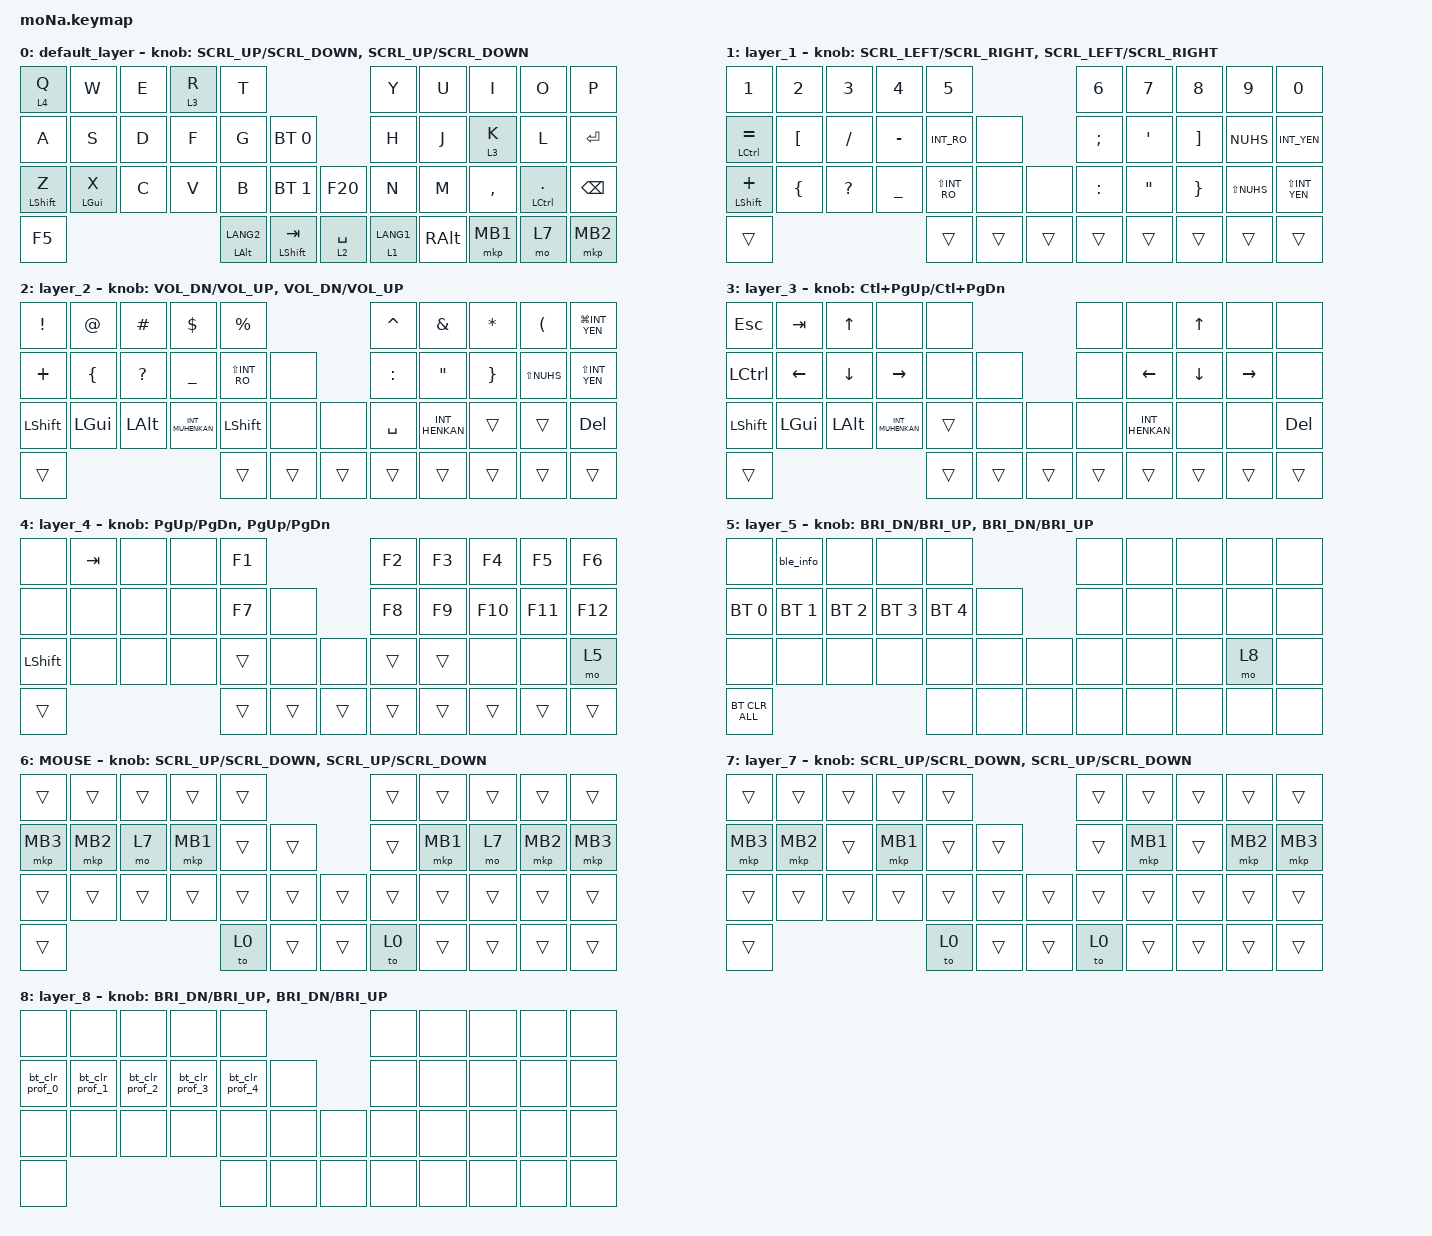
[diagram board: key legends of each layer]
#include <behaviors/rgbled_widget.dtsi>  // led制御
#include <behaviors/ble_info.dtsi>
#include <behaviors.dtsi>
#include <dt-bindings/zmk/bt.h>
#include <dt-bindings/zmk/keys.h>
#include <dt-bindings/zmk/pointing.h>

#define ZMK_POINTING_DEFAULT_SCRL_VAL 70   //スクロール量
#define MOUSE 6

&mt {
    flavor = "balanced";
    quick-tap-ms = <0>;
};

/ {
    //コンボ設定

    combos {
        compatible = "zmk,combos";

        tab {
            bindings = <&kp TAB>;   //押したとき実行されるコマンド
            key-positions = <11 12>;    //押すキーの位置
        };

        shift_tab {
            bindings = <&kp LS(TAB)>;
            key-positions = <12 13>;
        };

        muhennkann {
            bindings = <&to_layer_0 INT_MUHENKAN>;
            key-positions = <11 10>;
        };

        double_quotation {
            bindings = <&kp DOUBLE_QUOTES>;
            key-positions = <20 21>;
        };

        eq {
            bindings = <&kp EQUAL>;
            key-positions = <24 25>;
        };
    };

    //マクロ(既存のキーの組み合わせ)

    macros {
        to_layer_0: to_layer_0 {
            compatible = "zmk,behavior-macro-one-param";
            #binding-cells = <1>;
            bindings = <&to 0 &macro_param_1to1 &kp MACRO_PLACEHOLDER>;
            label = "TO_LAYER_0";
        };

        bt_clr_prof_0: bt_clr_prof_0 {
            compatible = "zmk,behavior-macro";
            #binding-cells = <0>;
            bindings = <&bt BT_SEL 0>, <&bt BT_CLR>;
        };

        bt_clr_prof_1: bt_clr_prof_1 {
            compatible = "zmk,behavior-macro";
            #binding-cells = <0>;
            bindings = <&bt BT_SEL 1>, <&bt BT_CLR>;
        };

        bt_clr_prof_2: bt_clr_prof_2 {
            compatible = "zmk,behavior-macro";
            #binding-cells = <0>;
            bindings = <&bt BT_SEL 2>, <&bt BT_CLR>;
        };

        bt_clr_prof_3: bt_clr_prof_3 {
            compatible = "zmk,behavior-macro";
            #binding-cells = <0>;
            bindings = <&bt BT_SEL 3>, <&bt BT_CLR>;
        };

        bt_clr_prof_4: bt_clr_prof_4 {
            compatible = "zmk,behavior-macro";
            #binding-cells = <0>;
            bindings = <&bt BT_SEL 4>, <&bt BT_CLR>;
        };
    };

    //新たな動作を定義する

    behaviors {
        lt_to_layer_0: lt_to_layer_0 {
            compatible = "zmk,behavior-hold-tap";
            label = "LAYER_TAP_TO_0";
            bindings = <&mo>, <&to_layer_0>;

            #binding-cells = <2>;
            tapping-term-ms = <200>;
        };

        mouse_scroll: mouse_wheel_scrl {
            compatible = "zmk,behavior-sensor-rotate-var";
            #sensor-binding-cells = <2>;
            bindings = <&msc>, <&msc>;

            // 追加: スクロールのタップ時間を設定 (20ms)

            tap-ms = <20>;
        };
    };

    //キーマップ設定

    keymap {
        compatible = "zmk,keymap";

        default_layer {
            bindings = <
&lt 4 Q           &kp W           &kp E  &lt 3 R  &kp T                                                  &kp Y        &kp U  &kp I      &kp O          &kp P
&kp A             &kp S           &kp D  &kp F    &kp G               &bt BT_SEL 0                             &kp H        &kp J  &lt 3 K    &kp L          &kp ENTER
&mt LEFT_SHIFT Z  &mt LEFT_GUI X  &kp C  &kp V    &kp B               &bt BT_SEL 1               &kp F20      &kp N        &kp M  &kp COMMA  &mt LCTRL DOT  &kp BACKSPACE
&kp F5                                            &mt LEFT_ALT LANG2  &mt LEFT_SHIFT TAB    &lt 2 SPACE  &lt 1 LANG1  &kp RIGHT_ALT  &mkp MB1   &mo 7          &mkp MB2
            >;

            sensor-bindings =
                <&mouse_scroll SCRL_UP SCRL_DOWN>,
                <&mouse_scroll SCRL_UP SCRL_DOWN>;
        };

        layer_1 {
            bindings = <
&kp N1               &kp N2    &kp N3        &kp N4     &kp N5                            &kp N6         &kp N7          &kp N8    &kp N9        &kp N0
&mt LCTRL EQUAL      &kp LBKT  &kp SLASH     &kp MINUS  &kp INT_RO      &none             &kp SEMICOLON  &kp APOSTROPHE  &kp RBKT  &kp NUHS      &kp INT_YEN
&mt LEFT_SHIFT PLUS  &kp LBRC  &kp QUESTION  &kp UNDER  &kp LS(INT_RO)  &none     &none   &kp COLON      &kp DQT         &kp RBRC  &kp LS(NUHS)  &kp LS(INT_YEN)
&trans                                                  &trans          &trans    &trans  &trans         &trans          &trans    &trans        &trans
            >;

            sensor-bindings =
                <&mouse_scroll SCRL_LEFT SCRL_RIGHT>,
                <&mouse_scroll SCRL_LEFT SCRL_RIGHT>;
        };

        layer_2 {
            bindings = <
&kp EXCL    &kp AT    &kp HASH      &kp DLLR          &kp PRCNT                         &kp CARET  &kp AMPS        &kp ASTRK  &kp LPAR      &kp LG(INT_YEN)
&kp PLUS    &kp LBRC  &kp QUESTION  &kp UNDER         &kp LS(INT_RO)  &none             &kp COLON  &kp DQT         &kp RBRC   &kp LS(NUHS)  &kp LS(INT_YEN)
&kp LSHIFT  &kp LGUI  &kp LALT      &kp INT_MUHENKAN  &kp LSHIFT      &none     &none   &kp SPACE  &kp INT_HENKAN  &trans     &trans        &kp DEL
&trans                                                &trans          &trans    &trans  &trans     &trans          &trans     &trans        &trans
            >;

            sensor-bindings =
                <&inc_dec_kp C_VOL_DN C_VOL_UP>,
                <&inc_dec_kp C_VOL_DN C_VOL_UP>;
        };

        layer_3 {
            bindings = <
&kp ESC     &kp TAB   &kp UP    &none             &none                     &none   &none           &kp UP    &none      &none
&kp LCTRL   &kp LEFT  &kp DOWN  &kp RIGHT         &none   &none             &none   &kp LEFT        &kp DOWN  &kp RIGHT  &none
&kp LSHIFT  &kp LGUI  &kp LALT  &kp INT_MUHENKAN  &trans  &none     &none   &none   &kp INT_HENKAN  &none     &none      &kp DEL
&trans                                            &trans  &trans    &trans  &trans  &trans          &trans    &trans     &trans
            >;

            sensor-bindings = <&inc_dec_kp LC(PAGE_UP) LC(PAGE_DOWN)>;
        };

        layer_4 {
            bindings = <
&none       &kp TAB  &none  &none  &kp F1                    &kp F2  &kp F3  &kp F4   &kp F5   &kp F6
&none       &none    &none  &none  &kp F7  &none             &kp F8  &kp F9  &kp F10  &kp F11  &kp F12
&kp LSHIFT  &none    &none  &none  &trans  &none     &none   &trans  &trans  &none    &none    &mo 5
&trans                             &trans  &trans    &trans  &trans  &trans  &trans   &trans   &trans
            >;

            sensor-bindings =
                <&inc_dec_kp PG_UP PG_DN>,
                <&inc_dec_kp PG_UP PG_DN>;
        };

        layer_5 {
            bindings = <
&none           &ble_info     &none         &none         &none                         &none  &none  &none  &none  &none
&bt BT_SEL 0    &bt BT_SEL 1  &bt BT_SEL 2  &bt BT_SEL 3  &bt BT_SEL 4  &none           &none  &none  &none  &none  &none
&none           &none         &none         &none         &none         &none    &none  &none  &none  &none  &mo 8  &none
&bt BT_CLR_ALL                                            &none         &none    &none  &none  &none  &none  &none  &none
            >;

            sensor-bindings =
                <&inc_dec_kp C_BRI_DN C_BRI_UP>,
                <&inc_dec_kp C_BRI_DN C_BRI_UP>;
        };

        MOUSE {
            bindings = <
&trans    &trans    &trans  &trans    &trans                    &trans  &trans    &trans  &trans    &trans
&mkp MB3  &mkp MB2  &mo 7   &mkp MB1  &trans  &trans            &trans  &mkp MB1  &mo 7   &mkp MB2  &mkp MB3
&trans    &trans    &trans  &trans    &trans  &trans    &trans  &trans  &trans    &trans  &trans    &trans
&trans                                &to 0   &trans    &trans  &to 0   &trans    &trans  &trans    &trans
            >;

            sensor-bindings =
                <&mouse_scroll SCRL_UP SCRL_DOWN>,
                <&mouse_scroll SCRL_UP SCRL_DOWN>;
        };

        layer_7 {
            bindings = <
&trans    &trans    &trans  &trans    &trans                    &trans  &trans    &trans  &trans    &trans
&mkp MB3  &mkp MB2  &trans  &mkp MB1  &trans  &trans            &trans  &mkp MB1  &trans  &mkp MB2  &mkp MB3
&trans    &trans    &trans  &trans    &trans  &trans    &trans  &trans  &trans    &trans  &trans    &trans
&trans                                &to 0   &trans    &trans  &to 0   &trans    &trans  &trans    &trans
            >;

            sensor-bindings =
                <&mouse_scroll SCRL_UP SCRL_DOWN>,
                <&mouse_scroll SCRL_UP SCRL_DOWN>;
        };

        layer_8 {
            bindings = <
&none             &none             &none             &none             &none                              &none  &none  &none  &none  &none
&bt_clr_prof_0    &bt_clr_prof_1    &bt_clr_prof_2    &bt_clr_prof_3    &bt_clr_prof_4    &none            &none  &none  &none  &none  &none
&none             &none             &none             &none             &none             &none    &none   &none  &none  &none  &none  &none
&none                                                                   &none             &none    &none   &none  &none  &none  &none  &none
            >;

            sensor-bindings =
                <&inc_dec_kp C_BRI_DN C_BRI_UP>,
                <&inc_dec_kp C_BRI_DN C_BRI_UP>;
        };
    };
};
